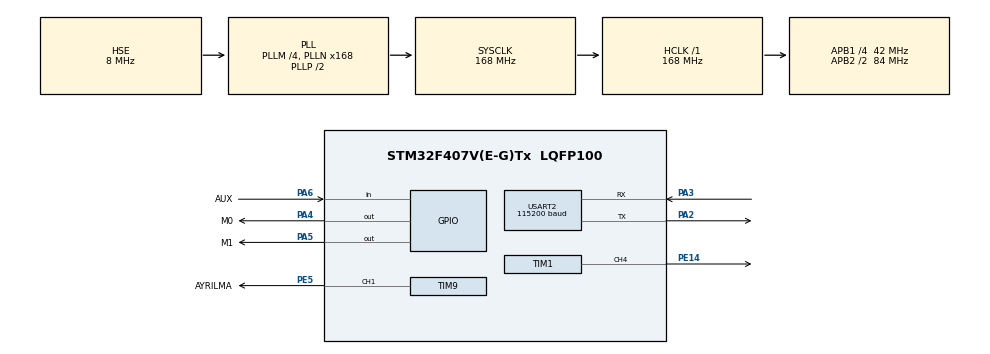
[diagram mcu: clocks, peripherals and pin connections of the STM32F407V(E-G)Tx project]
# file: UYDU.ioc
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Dma.Request0=USART2_TX
Dma.Request1=USART2_RX
Dma.USART2_RX.1.Direction=DMA_PERIPH_TO_MEMORY
Dma.USART2_RX.1.FIFOMode=DMA_FIFOMODE_DISABLE
Dma.USART2_RX.1.Instance=DMA1_Stream5
Dma.USART2_RX.1.MemDataAlignment=DMA_MDATAALIGN_BYTE
Dma.USART2_RX.1.MemInc=DMA_MINC_ENABLE
Dma.USART2_RX.1.Mode=DMA_NORMAL
Dma.USART2_RX.1.PeriphDataAlignment=DMA_PDATAALIGN_BYTE
Dma.USART2_RX.1.PeriphInc=DMA_PINC_DISABLE
Dma.USART2_RX.1.Priority=DMA_PRIORITY_LOW
Dma.USART2_TX.0.Direction=DMA_MEMORY_TO_PERIPH
Dma.USART2_TX.0.FIFOMode=DMA_FIFOMODE_DISABLE
Dma.USART2_TX.0.Instance=DMA1_Stream6
Dma.USART2_TX.0.MemDataAlignment=DMA_MDATAALIGN_BYTE
Dma.USART2_TX.0.MemInc=DMA_MINC_ENABLE
Dma.USART2_TX.0.Mode=DMA_NORMAL
Dma.USART2_TX.0.PeriphDataAlignment=DMA_PDATAALIGN_BYTE
Dma.USART2_TX.0.PeriphInc=DMA_PINC_DISABLE
Dma.USART2_TX.0.Priority=DMA_PRIORITY_HIGH
Mcu.Family=STM32F4
Mcu.Name=STM32F407V(E-G)Tx
Mcu.Package=LQFP100
NVIC.DMA1_Stream5_IRQn=true\:0\:0\:false\:false\:true\:false\:true\:true
NVIC.DMA1_Stream6_IRQn=true\:0\:0\:false\:false\:true\:false\:true\:true
NVIC.PriorityGroup=NVIC_PRIORITYGROUP_4
NVIC.TIM2_IRQn=true\:0\:0\:false\:false\:true\:true\:true\:true
NVIC.USART2_IRQn=true\:0\:0\:false\:false\:true\:true\:true\:true
PA13.Mode=Serial_Wire
PA13.Signal=SYS_JTMS-SWDIO
PA14.Mode=Serial_Wire
PA14.Signal=SYS_JTCK-SWCLK
PA2.Mode=Asynchronous
PA2.Signal=USART2_TX
PA3.Mode=Asynchronous
PA3.Signal=USART2_RX
PA4.GPIO_Label=M0
PA4.Signal=GPIO_Output
PA5.GPIO_Label=M1
PA5.Signal=GPIO_Output
PA6.GPIO_Label=AUX
PA6.Signal=GPIO_Input
PC14-OSC32_IN.Mode=LSE-External-Oscillator
PC14-OSC32_IN.Signal=RCC_OSC32_IN
PC15-OSC32_OUT.Mode=LSE-External-Oscillator
PC15-OSC32_OUT.Signal=RCC_OSC32_OUT
PE14.Signal=S_TIM1_CH4
PE5.GPIO_Label=AYRILMA
PE5.Signal=S_TIM9_CH1
PH0-OSC_IN.Mode=HSE-External-Oscillator
PH0-OSC_IN.Signal=RCC_OSC_IN
PH1-OSC_OUT.Mode=HSE-External-Oscillator
PH1-OSC_OUT.Signal=RCC_OSC_OUT
ProjectManager.HeapSize=0x200
ProjectManager.StackSize=0x400
ProjectManager.TargetToolchain=STM32CubeIDE
RCC.48MHZClocksFreq_Value=84000000
RCC.AHBFreq_Value=168000000
RCC.APB1CLKDivider=RCC_HCLK_DIV4
RCC.APB1Freq_Value=42000000
RCC.APB1TimFreq_Value=84000000
RCC.APB2CLKDivider=RCC_HCLK_DIV2
RCC.APB2Freq_Value=84000000
RCC.APB2TimFreq_Value=168000000
RCC.CortexFreq_Value=168000000
RCC.HCLKFreq_Value=168000000
RCC.HSE_VALUE=8000000
RCC.HSI_VALUE=16000000
RCC.PLLM=4
RCC.PLLN=168
RCC.PLLSourceVirtual=RCC_PLLSOURCE_HSE
RCC.SYSCLKFreq_VALUE=168000000
RCC.SYSCLKSource=RCC_SYSCLKSOURCE_PLLCLK
RCC.VCOOutputFreq_Value=336000000
SH.S_TIM1_CH4.0=TIM1_CH4,PWM Generation4 CH4
SH.S_TIM9_CH1.0=TIM9_CH1,PWM Generation1 CH1
TIM1.Channel-PWM\ Generation4\ CH4=TIM_CHANNEL_4
TIM1.Period=19999
TIM1.Prescaler=167
TIM2.Period=4999
TIM2.Prescaler=8399
TIM9.Channel-PWM\ Generation1\ CH1=TIM_CHANNEL_1
TIM9.Period=19999
TIM9.Prescaler=167
USART2.BaudRate=115200
USART2.VirtualMode=VM_ASYNC
VP_TIM2_VS_ClockSourceINT.Mode=Internal
board=custom

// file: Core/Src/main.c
/* USER CODE BEGIN Header */
/**
  ******************************************************************************
  * @file           : main.c
  * @brief          : Main program body
  ******************************************************************************
  * @attention
  *
  * Copyright (c) 2026 STMicroelectronics.
  * All rights reserved.
  *
  * This software is licensed under terms that can be found in the LICENSE file
  * in the root directory of this software component.
  * If no LICENSE file comes with this software, it is provided AS-IS.
  *
  ******************************************************************************
  */
/* USER CODE END Header */
#include "main.h"

/* USER CODE BEGIN Includes */
#include "TM.h"
#include "string.h"
/* USER CODE END Includes */

TIM_HandleTypeDef htim1;
TIM_HandleTypeDef htim2;
TIM_HandleTypeDef htim9;

UART_HandleTypeDef huart2;
DMA_HandleTypeDef hdma_usart2_tx;
DMA_HandleTypeDef hdma_usart2_rx;

/* USER CODE BEGIN PV */
volatile uint8_t tx_complete = 1;
volatile uint8_t mod_degisti_bayragi = 1;
volatile uint8_t veri_geldi_bayragi  = 0;
volatile uint16_t rx_uzunluk         = 0;
volatile int32_t aktif_mod           = SISTEM_MOD_TX; // 0: TX (Telemetri Gönder), 1: RX (Komut Bekle)
volatile uint32_t paket_sayaci = 0;
/* USER CODE END PV */

void SystemClock_Config(void);
static void MX_GPIO_Init(void);
static void MX_DMA_Init(void);
static void MX_USART2_UART_Init(void);
static void MX_TIM2_Init(void);
static void MX_TIM9_Init(void);
static void MX_TIM1_Init(void);

int main(void)
{

  /* MCU Configuration--------------------------------------------------------*/

  /* Reset of all peripherals, Initializes the Flash interface and the Systick. */
  HAL_Init();

  /* Configure the system clock */
  SystemClock_Config();

  /* Initialize all configured peripherals */
  MX_GPIO_Init();
  MX_DMA_Init();
  MX_USART2_UART_Init();
  MX_TIM2_Init();
  MX_TIM9_Init();
  MX_TIM1_Init();
  /* USER CODE BEGIN 2 */

  HAL_GPIO_WritePin(GPIOA, M0_Pin, GPIO_PIN_RESET);
  HAL_GPIO_WritePin(GPIOA, M1_Pin, GPIO_PIN_RESET);
    // Modülün moda geçmesi için kısa bir süre bekle
    HAL_Delay(5);

    // Başlangıçta struct'ın içini temizle (paket no vs. 0 olsun)
  memset(&telemetri, 0, sizeof(TelemetriPaketi_t));
  memset(&sensorler, 0, sizeof(SensorVerileri_t));

  HAL_TIM_Base_Start_IT(&htim2);

  // Servo motor için TIM9 Kanal 1 PWM çıkışını başlat
    HAL_TIM_PWM_Start(&htim9, TIM_CHANNEL_1);

      HAL_TIM_PWM_Start(&htim1, TIM_CHANNEL_4); // TIM1'i başlat
      htim1.Instance->BDTR |= TIM_BDTR_MOE;     // TIM1 İÇİN ANA ÇIKIŞI (MOE) AKTİF ET
  /* USER CODE END 2 */

  /* Infinite loop */
  /* USER CODE BEGIN WHILE */
  while (1)
  {
	  /* --- GÖREV 1: ZAMAN DİLİMİ (MOD) DEĞİŞİMİ --- */
	          if (mod_degisti_bayragi)
	          {
	              mod_degisti_bayragi = 0;

	              if (aktif_mod == SISTEM_MOD_TX)
	              {
	                  // Sensörleri oku ve paketi hazırla
	                  Sensor_Oku();
	                  TM_Paket_Olustur();

	                  // LoRa modülü önceki işlemden veya dinlemeden çıkıp boşa çıkana kadar bekle
	                  while (HAL_GPIO_ReadPin(AUX_GPIO_Port, AUX_Pin) == GPIO_PIN_RESET) {}

	                  Telemetri_Gonder();
	                  paket_sayaci++;
	              }
	              else if (aktif_mod == SISTEM_MOD_RX)
	              {
	                  // LoRa modülü boştayken dinlemeye başla
	                  while (HAL_GPIO_ReadPin(AUX_GPIO_Port, AUX_Pin) == GPIO_PIN_RESET) {}
	                  Komut_Dinlemeye_Basla();
	              }
	          }

	          /* --- GÖREV 2: YER İSTASYONUNDAN KOMUT GELDİ --- */
	          if (veri_geldi_bayragi)
	          {
	              veri_geldi_bayragi = 0;

	              // Çakışmayı önlemek için sadece RX modundayken gelen veriyi işle
	              if (aktif_mod == SISTEM_MOD_RX)
	              {
	                  Komut_Isle();
	              }
	          }
    /* USER CODE END WHILE */

  }
}

void SystemClock_Config(void)
{
  RCC_OscInitTypeDef RCC_OscInitStruct = {0};
  RCC_ClkInitTypeDef RCC_ClkInitStruct = {0};

  /** Configure the main internal regulator output voltage
  */
  __HAL_RCC_PWR_CLK_ENABLE();
  __HAL_PWR_VOLTAGESCALING_CONFIG(PWR_REGULATOR_VOLTAGE_SCALE1);

  /** Initializes the RCC Oscillators according to the specified parameters
  * in the RCC_OscInitTypeDef structure.
  */
  RCC_OscInitStruct.OscillatorType = RCC_OSCILLATORTYPE_HSE;
  RCC_OscInitStruct.HSEState = RCC_HSE_ON;
  RCC_OscInitStruct.PLL.PLLState = RCC_PLL_ON;
  RCC_OscInitStruct.PLL.PLLSource = RCC_PLLSOURCE_HSE;
  RCC_OscInitStruct.PLL.PLLM = 4;
  RCC_OscInitStruct.PLL.PLLN = 168;
  RCC_OscInitStruct.PLL.PLLP = RCC_PLLP_DIV2;
  RCC_OscInitStruct.PLL.PLLQ = 4;
  if (HAL_RCC_OscConfig(&RCC_OscInitStruct) != HAL_OK)
  {
    Error_Handler();
  }

  /** Initializes the CPU, AHB and APB buses clocks
  */
  RCC_ClkInitStruct.ClockType = RCC_CLOCKTYPE_HCLK|RCC_CLOCKTYPE_SYSCLK
                              |RCC_CLOCKTYPE_PCLK1|RCC_CLOCKTYPE_PCLK2;
  RCC_ClkInitStruct.SYSCLKSource = RCC_SYSCLKSOURCE_PLLCLK;
  RCC_ClkInitStruct.AHBCLKDivider = RCC_SYSCLK_DIV1;
  RCC_ClkInitStruct.APB1CLKDivider = RCC_HCLK_DIV4;
  RCC_ClkInitStruct.APB2CLKDivider = RCC_HCLK_DIV2;

  if (HAL_RCC_ClockConfig(&RCC_ClkInitStruct, FLASH_LATENCY_5) != HAL_OK)
  {
    Error_Handler();
  }
}

static void MX_TIM1_Init(void)
{

  TIM_MasterConfigTypeDef sMasterConfig = {0};
  TIM_OC_InitTypeDef sConfigOC = {0};
  TIM_BreakDeadTimeConfigTypeDef sBreakDeadTimeConfig = {0};

  htim1.Instance = TIM1;
  htim1.Init.Prescaler = 167;
  htim1.Init.CounterMode = TIM_COUNTERMODE_UP;
  htim1.Init.Period = 19999;
  htim1.Init.ClockDivision = TIM_CLOCKDIVISION_DIV1;
  htim1.Init.RepetitionCounter = 0;
  htim1.Init.AutoReloadPreload = TIM_AUTORELOAD_PRELOAD_DISABLE;
  if (HAL_TIM_PWM_Init(&htim1) != HAL_OK)
  {
    Error_Handler();
  }
  sMasterConfig.MasterOutputTrigger = TIM_TRGO_RESET;
  sMasterConfig.MasterSlaveMode = TIM_MASTERSLAVEMODE_DISABLE;
  if (HAL_TIMEx_MasterConfigSynchronization(&htim1, &sMasterConfig) != HAL_OK)
  {
    Error_Handler();
  }
  sConfigOC.OCMode = TIM_OCMODE_PWM1;
  sConfigOC.Pulse = 0;
  sConfigOC.OCPolarity = TIM_OCPOLARITY_HIGH;
  sConfigOC.OCFastMode = TIM_OCFAST_DISABLE;
  sConfigOC.OCIdleState = TIM_OCIDLESTATE_RESET;
  sConfigOC.OCNIdleState = TIM_OCNIDLESTATE_RESET;
  if (HAL_TIM_PWM_ConfigChannel(&htim1, &sConfigOC, TIM_CHANNEL_4) != HAL_OK)
  {
    Error_Handler();
  }
  sBreakDeadTimeConfig.OffStateRunMode = TIM_OSSR_DISABLE;
  sBreakDeadTimeConfig.OffStateIDLEMode = TIM_OSSI_DISABLE;
  sBreakDeadTimeConfig.LockLevel = TIM_LOCKLEVEL_OFF;
  sBreakDeadTimeConfig.DeadTime = 0;
  sBreakDeadTimeConfig.BreakState = TIM_BREAK_DISABLE;
  sBreakDeadTimeConfig.BreakPolarity = TIM_BREAKPOLARITY_HIGH;
  sBreakDeadTimeConfig.AutomaticOutput = TIM_AUTOMATICOUTPUT_DISABLE;
  if (HAL_TIMEx_ConfigBreakDeadTime(&htim1, &sBreakDeadTimeConfig) != HAL_OK)
  {
    Error_Handler();
  }
  HAL_TIM_MspPostInit(&htim1);

}

static void MX_TIM2_Init(void)
{

  TIM_ClockConfigTypeDef sClockSourceConfig = {0};
  TIM_MasterConfigTypeDef sMasterConfig = {0};

  htim2.Instance = TIM2;
  htim2.Init.Prescaler = 8399;
  htim2.Init.CounterMode = TIM_COUNTERMODE_UP;
  htim2.Init.Period = 4999;
  htim2.Init.ClockDivision = TIM_CLOCKDIVISION_DIV1;
  htim2.Init.AutoReloadPreload = TIM_AUTORELOAD_PRELOAD_DISABLE;
  if (HAL_TIM_Base_Init(&htim2) != HAL_OK)
  {
    Error_Handler();
  }
  sClockSourceConfig.ClockSource = TIM_CLOCKSOURCE_INTERNAL;
  if (HAL_TIM_ConfigClockSource(&htim2, &sClockSourceConfig) != HAL_OK)
  {
    Error_Handler();
  }
  sMasterConfig.MasterOutputTrigger = TIM_TRGO_RESET;
  sMasterConfig.MasterSlaveMode = TIM_MASTERSLAVEMODE_DISABLE;
  if (HAL_TIMEx_MasterConfigSynchronization(&htim2, &sMasterConfig) != HAL_OK)
  {
    Error_Handler();
  }

}

static void MX_TIM9_Init(void)
{

  TIM_OC_InitTypeDef sConfigOC = {0};

  htim9.Instance = TIM9;
  htim9.Init.Prescaler = 167;
  htim9.Init.CounterMode = TIM_COUNTERMODE_UP;
  htim9.Init.Period = 19999;
  htim9.Init.ClockDivision = TIM_CLOCKDIVISION_DIV1;
  htim9.Init.AutoReloadPreload = TIM_AUTORELOAD_PRELOAD_DISABLE;
  if (HAL_TIM_PWM_Init(&htim9) != HAL_OK)
  {
    Error_Handler();
  }
  sConfigOC.OCMode = TIM_OCMODE_PWM1;
  sConfigOC.Pulse = 0;
  sConfigOC.OCPolarity = TIM_OCPOLARITY_HIGH;
  sConfigOC.OCFastMode = TIM_OCFAST_DISABLE;
  if (HAL_TIM_PWM_ConfigChannel(&htim9, &sConfigOC, TIM_CHANNEL_1) != HAL_OK)
  {
    Error_Handler();
  }
  HAL_TIM_MspPostInit(&htim9);

}

static void MX_USART2_UART_Init(void)
{

  huart2.Instance = USART2;
  huart2.Init.BaudRate = 115200;
  huart2.Init.WordLength = UART_WORDLENGTH_8B;
  huart2.Init.StopBits = UART_STOPBITS_1;
  huart2.Init.Parity = UART_PARITY_NONE;
  huart2.Init.Mode = UART_MODE_TX_RX;
  huart2.Init.HwFlowCtl = UART_HWCONTROL_NONE;
  huart2.Init.OverSampling = UART_OVERSAMPLING_16;
  if (HAL_UART_Init(&huart2) != HAL_OK)
  {
    Error_Handler();
  }

}

static void MX_DMA_Init(void)
{

  /* DMA controller clock enable */
  __HAL_RCC_DMA1_CLK_ENABLE();

  /* DMA interrupt init */
  /* DMA1_Stream5_IRQn interrupt configuration */
  HAL_NVIC_SetPriority(DMA1_Stream5_IRQn, 0, 0);
  HAL_NVIC_EnableIRQ(DMA1_Stream5_IRQn);
  /* DMA1_Stream6_IRQn interrupt configuration */
  HAL_NVIC_SetPriority(DMA1_Stream6_IRQn, 0, 0);
  HAL_NVIC_EnableIRQ(DMA1_Stream6_IRQn);

}

static void MX_GPIO_Init(void)
{
  GPIO_InitTypeDef GPIO_InitStruct = {0};

  /* GPIO Ports Clock Enable */
  __HAL_RCC_GPIOE_CLK_ENABLE();
  __HAL_RCC_GPIOC_CLK_ENABLE();
  __HAL_RCC_GPIOH_CLK_ENABLE();
  __HAL_RCC_GPIOA_CLK_ENABLE();

  /*Configure GPIO pin Output Level */
  HAL_GPIO_WritePin(GPIOA, M0_Pin|M1_Pin, GPIO_PIN_RESET);

  /*Configure GPIO pins : M0_Pin M1_Pin */
  GPIO_InitStruct.Pin = M0_Pin|M1_Pin;
  GPIO_InitStruct.Mode = GPIO_MODE_OUTPUT_PP;
  GPIO_InitStruct.Pull = GPIO_NOPULL;
  GPIO_InitStruct.Speed = GPIO_SPEED_FREQ_LOW;
  HAL_GPIO_Init(GPIOA, &GPIO_InitStruct);

  /*Configure GPIO pin : AUX_Pin */
  GPIO_InitStruct.Pin = AUX_Pin;
  GPIO_InitStruct.Mode = GPIO_MODE_INPUT;
  GPIO_InitStruct.Pull = GPIO_NOPULL;
  HAL_GPIO_Init(AUX_GPIO_Port, &GPIO_InitStruct);

}

/* USER CODE BEGIN 4 */

void HAL_TIM_PeriodElapsedCallback(TIM_HandleTypeDef *htim)
{
    if (htim->Instance == TIM2) {
        aktif_mod = (aktif_mod + 1) % 2;
        mod_degisti_bayragi = 1;
    }
}

// UART Idle Line Kesmesi: Paket tamamen alındığında tetiklenir
void HAL_UARTEx_RxEventCallback(UART_HandleTypeDef *huart, uint16_t Size)
{
    if (huart->Instance == USART2) {
        rx_uzunluk = Size;
        veri_geldi_bayragi = 1;

        // Dinlemeyi tazelemek veya durdurmak isterseniz burada müdahale edebilirsiniz
        __HAL_DMA_DISABLE_IT(huart->hdmarx, DMA_IT_HT); //Half-Transfer kapatılır
    }
}

void HAL_UART_ErrorCallback(UART_HandleTypeDef *huart)
{
    if (huart->Instance == USART2)
    {
        // Donanımsal bir hata (Noise, Overrun, Framing) oluştuğunda
        // kilitlenmeyi önlemek için mevcut işlemi iptal et (Abort).
        HAL_UART_Abort(huart);

        // Sistemin sonsuz döngüde sıkışmaması için bayrağı tekrar 1 yap,
        // böylece bir sonraki saniye yeni paket gönderimi denenebilir.
        tx_complete = 1;
    }
}

/* USER CODE END 4 */

void Error_Handler(void)
{
  __disable_irq();
  while (1)
  {
  }
}
